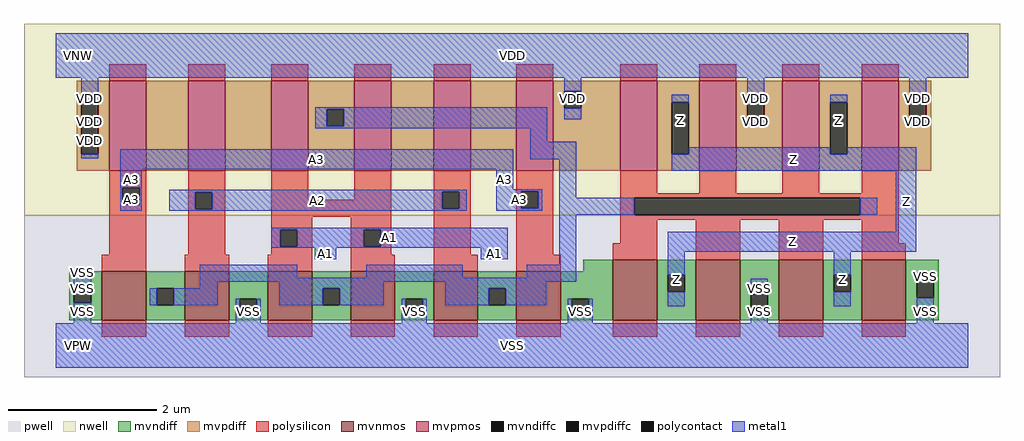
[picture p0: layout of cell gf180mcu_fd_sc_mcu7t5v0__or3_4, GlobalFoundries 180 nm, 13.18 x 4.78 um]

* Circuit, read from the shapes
.subckt gf180mcu_fd_sc_mcu7t5v0__or3_4 A1 A2 A3 Z VDD VNW VPW VSS
XM1 n1 A3 VSS VPW nfet_06v0 w=0.665u l=0.6u m=2
XM2 VSS A2 n1 VPW nfet_06v0 w=0.665u l=0.6u m=2
XM3 n1 A1 VSS VPW nfet_06v0 w=0.665u l=0.6u m=2
XM4 Z n1 VSS VPW nfet_06v0 w=0.82u l=0.6u m=4
XM5 n2 A3 VDD VNW pfet_06v0 w=1.22u l=0.5u
XM6 n3 A2 n2 VNW pfet_06v0 w=1.22u l=0.5u
XM7 n1 A1 n3 VNW pfet_06v0 w=1.22u l=0.5u
XM8 n4 A1 n1 VNW pfet_06v0 w=1.22u l=0.5u
XM9 n5 A2 n4 VNW pfet_06v0 w=1.22u l=0.5u
XM10 VDD A3 n5 VNW pfet_06v0 w=1.22u l=0.5u
XM11 Z n1 VDD VNW pfet_06v0 w=1.22u l=0.5u m=4
.ends

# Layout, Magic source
magic
tech gf180mcuD
magscale 1 10
<< nwell >>
rect -86 352 2550 870
<< pwell >>
rect -86 -86 2550 352
<< mvnmos >>
rect 124 68 244 201
rect 348 68 468 201
rect 572 68 692 201
rect 796 68 916 201
rect 1020 68 1140 201
rect 1244 68 1364 201
rect 1504 68 1624 232
rect 1728 68 1848 232
rect 1952 68 2072 232
rect 2176 68 2296 232
<< mvpmos >>
rect 144 472 244 716
rect 358 472 458 716
rect 582 472 682 716
rect 806 472 906 716
rect 1020 472 1120 716
rect 1244 472 1344 716
rect 1524 472 1624 716
rect 1738 472 1838 716
rect 1962 472 2062 716
rect 2176 472 2276 716
<< mvndiff >>
rect 1424 201 1504 232
rect 36 162 124 201
rect 36 116 49 162
rect 95 116 124 162
rect 36 68 124 116
rect 244 155 348 201
rect 244 109 273 155
rect 319 109 348 155
rect 244 68 348 109
rect 468 127 572 201
rect 468 81 497 127
rect 543 81 572 127
rect 468 68 572 81
rect 692 155 796 201
rect 692 109 721 155
rect 767 109 796 155
rect 692 68 796 109
rect 916 127 1020 201
rect 916 81 945 127
rect 991 81 1020 127
rect 916 68 1020 81
rect 1140 155 1244 201
rect 1140 109 1169 155
rect 1215 109 1244 155
rect 1140 68 1244 109
rect 1364 127 1504 201
rect 1364 81 1393 127
rect 1439 81 1504 127
rect 1364 68 1504 81
rect 1624 192 1728 232
rect 1624 146 1653 192
rect 1699 146 1728 192
rect 1624 68 1728 146
rect 1848 139 1952 232
rect 1848 93 1877 139
rect 1923 93 1952 139
rect 1848 68 1952 93
rect 2072 192 2176 232
rect 2072 146 2101 192
rect 2147 146 2176 192
rect 2072 68 2176 146
rect 2296 176 2384 232
rect 2296 130 2325 176
rect 2371 130 2384 176
rect 2296 68 2384 130
<< mvpdiff >>
rect 56 657 144 716
rect 56 517 69 657
rect 115 517 144 657
rect 56 472 144 517
rect 244 472 358 716
rect 458 472 582 716
rect 682 639 806 716
rect 682 593 731 639
rect 777 593 806 639
rect 682 472 806 593
rect 906 472 1020 716
rect 1120 472 1244 716
rect 1344 687 1524 716
rect 1344 641 1373 687
rect 1419 641 1524 687
rect 1344 472 1524 641
rect 1624 657 1738 716
rect 1624 517 1663 657
rect 1709 517 1738 657
rect 1624 472 1738 517
rect 1838 657 1962 716
rect 1838 611 1867 657
rect 1913 611 1962 657
rect 1838 472 1962 611
rect 2062 657 2176 716
rect 2062 517 2091 657
rect 2137 517 2176 657
rect 2062 472 2176 517
rect 2276 657 2364 716
rect 2276 611 2305 657
rect 2351 611 2364 657
rect 2276 472 2364 611
<< mvndiffc >>
rect 49 116 95 162
rect 273 109 319 155
rect 497 81 543 127
rect 721 109 767 155
rect 945 81 991 127
rect 1169 109 1215 155
rect 1393 81 1439 127
rect 1653 146 1699 192
rect 1877 93 1923 139
rect 2101 146 2147 192
rect 2325 130 2371 176
<< mvpdiffc >>
rect 69 517 115 657
rect 731 593 777 639
rect 1373 641 1419 687
rect 1663 517 1709 657
rect 1867 611 1913 657
rect 2091 517 2137 657
rect 2305 611 2351 657
<< polysilicon >>
rect 144 716 244 760
rect 358 716 458 760
rect 582 716 682 760
rect 806 716 906 760
rect 1020 716 1120 760
rect 1244 716 1344 760
rect 1524 716 1624 760
rect 1738 716 1838 760
rect 1962 716 2062 760
rect 2176 716 2276 760
rect 144 427 244 472
rect 144 381 180 427
rect 226 381 244 427
rect 144 245 244 381
rect 358 414 458 472
rect 358 368 377 414
rect 423 368 458 414
rect 358 245 458 368
rect 582 394 682 472
rect 806 394 906 472
rect 582 348 906 394
rect 582 313 692 348
rect 582 267 606 313
rect 652 267 692 313
rect 582 245 692 267
rect 124 201 244 245
rect 348 201 468 245
rect 572 201 692 245
rect 796 313 906 348
rect 796 267 831 313
rect 877 267 906 313
rect 796 245 906 267
rect 1020 416 1120 472
rect 1020 370 1043 416
rect 1089 370 1120 416
rect 1020 245 1120 370
rect 1244 417 1344 472
rect 1244 371 1257 417
rect 1303 371 1344 417
rect 1244 245 1344 371
rect 1524 412 1624 472
rect 1738 412 1838 472
rect 1962 412 2062 472
rect 2176 412 2276 472
rect 1524 399 2276 412
rect 1524 353 1562 399
rect 2172 353 2276 399
rect 1524 340 2276 353
rect 1524 276 1624 340
rect 796 201 916 245
rect 1020 201 1140 245
rect 1244 201 1364 245
rect 1504 232 1624 276
rect 1728 232 1848 340
rect 1952 232 2072 340
rect 2176 276 2276 340
rect 2176 232 2296 276
rect 124 24 244 68
rect 348 24 468 68
rect 572 24 692 68
rect 796 24 916 68
rect 1020 24 1140 68
rect 1244 24 1364 68
rect 1504 24 1624 68
rect 1728 24 1848 68
rect 1952 24 2072 68
rect 2176 24 2296 68
<< polycontact >>
rect 180 381 226 427
rect 377 368 423 414
rect 606 267 652 313
rect 831 267 877 313
rect 1043 370 1089 416
rect 1257 371 1303 417
rect 1562 353 2172 399
<< metal1 >>
rect 0 724 2464 844
rect 69 657 115 724
rect 1373 687 1419 724
rect 701 639 1327 644
rect 701 593 731 639
rect 777 593 1327 639
rect 1373 612 1419 641
rect 1663 657 1709 678
rect 701 587 1327 593
rect 1281 551 1327 587
rect 69 506 115 517
rect 174 476 1235 531
rect 1281 504 1406 551
rect 174 427 232 476
rect 174 381 180 427
rect 226 381 232 427
rect 1189 423 1235 476
rect 174 364 232 381
rect 306 416 1110 421
rect 306 414 1043 416
rect 306 368 377 414
rect 423 370 1043 414
rect 1089 370 1110 416
rect 423 368 1110 370
rect 306 364 1110 368
rect 1189 417 1314 423
rect 1189 371 1257 417
rect 1303 371 1314 417
rect 1189 364 1314 371
rect 1360 399 1406 504
rect 1867 657 1913 724
rect 1867 600 1913 611
rect 2091 657 2137 678
rect 1709 517 2091 536
rect 2305 657 2351 724
rect 2305 600 2351 611
rect 2137 517 2324 536
rect 1663 472 2324 517
rect 1360 353 1562 399
rect 2172 353 2219 399
rect 582 313 1221 318
rect 582 267 606 313
rect 652 267 831 313
rect 877 267 1221 313
rect 582 265 1221 267
rect 699 234 757 265
rect 1147 234 1221 265
rect 1360 219 1406 353
rect 2269 307 2324 472
rect 49 162 95 201
rect 388 184 652 219
rect 838 184 1099 219
rect 1272 184 1406 219
rect 388 173 1406 184
rect 1653 253 2324 307
rect 1653 192 1699 253
rect 388 155 437 173
rect 49 60 95 116
rect 253 109 273 155
rect 319 109 437 155
rect 603 155 886 173
rect 486 81 497 127
rect 543 81 554 127
rect 603 109 721 155
rect 767 109 886 155
rect 1052 155 1324 173
rect 486 60 554 81
rect 934 81 945 127
rect 991 81 1002 127
rect 1052 109 1169 155
rect 1215 109 1324 155
rect 2101 192 2147 253
rect 934 60 1002 81
rect 1382 81 1393 127
rect 1439 81 1450 127
rect 1653 106 1699 146
rect 1877 139 1923 180
rect 1382 60 1450 81
rect 2101 106 2147 146
rect 2325 176 2371 194
rect 1877 60 1923 93
rect 2325 60 2371 130
rect 0 -60 2464 60
<< labels >>
flabel metal1 s 174 476 1235 531 0 FreeSans 400 0 0 0 A3
port 3 nsew default input
flabel metal1 s 0 724 2464 844 0 FreeSans 400 0 0 0 VDD
port 5 nsew power bidirectional abutment
flabel metal1 s 49 194 95 201 0 FreeSans 400 0 0 0 VSS
port 8 nsew ground bidirectional abutment
flabel metal1 s 2091 536 2137 678 0 FreeSans 400 0 0 0 Z
port 4 nsew default output
flabel metal1 s 582 265 1221 318 0 FreeSans 400 0 0 0 A1
port 1 nsew default input
flabel metal1 s 306 364 1110 421 0 FreeSans 400 0 0 0 A2
port 2 nsew default input
flabel nwell s 10 734 110 834 0 FreeSans 400 0 0 0 VNW
port 6 nsew power bidirectional
flabel pwell s 10 -50 110 50 0 FreeSans 400 0 0 0 VPW
port 7 nsew ground bidirectional
rlabel metal1 s 1147 234 1221 265 1 A1
port 1 nsew default input
rlabel metal1 s 699 234 757 265 1 A1
port 1 nsew default input
rlabel metal1 s 1189 423 1235 476 1 A3
port 3 nsew default input
rlabel metal1 s 174 423 232 476 1 A3
port 3 nsew default input
rlabel metal1 s 1189 364 1314 423 1 A3
port 3 nsew default input
rlabel metal1 s 174 364 232 423 1 A3
port 3 nsew default input
rlabel metal1 s 1663 536 1709 678 1 Z
port 4 nsew default output
rlabel metal1 s 1663 472 2324 536 1 Z
port 4 nsew default output
rlabel metal1 s 2269 307 2324 472 1 Z
port 4 nsew default output
rlabel metal1 s 1653 253 2324 307 1 Z
port 4 nsew default output
rlabel metal1 s 2101 106 2147 253 1 Z
port 4 nsew default output
rlabel metal1 s 1653 106 1699 253 1 Z
port 4 nsew default output
rlabel metal1 s 2305 612 2351 724 1 VDD
port 5 nsew power bidirectional abutment
rlabel metal1 s 1867 612 1913 724 1 VDD
port 5 nsew power bidirectional abutment
rlabel metal1 s 1373 612 1419 724 1 VDD
port 5 nsew power bidirectional abutment
rlabel metal1 s 69 612 115 724 1 VDD
port 5 nsew power bidirectional abutment
rlabel metal1 s 2305 600 2351 612 1 VDD
port 5 nsew power bidirectional abutment
rlabel metal1 s 1867 600 1913 612 1 VDD
port 5 nsew power bidirectional abutment
rlabel metal1 s 69 600 115 612 1 VDD
port 5 nsew power bidirectional abutment
rlabel metal1 s 69 506 115 600 1 VDD
port 5 nsew power bidirectional abutment
rlabel metal1 s 2325 180 2371 194 1 VSS
port 8 nsew ground bidirectional abutment
rlabel metal1 s 49 180 95 194 1 VSS
port 8 nsew ground bidirectional abutment
rlabel metal1 s 2325 127 2371 180 1 VSS
port 8 nsew ground bidirectional abutment
rlabel metal1 s 1877 127 1923 180 1 VSS
port 8 nsew ground bidirectional abutment
rlabel metal1 s 49 127 95 180 1 VSS
port 8 nsew ground bidirectional abutment
rlabel metal1 s 2325 60 2371 127 1 VSS
port 8 nsew ground bidirectional abutment
rlabel metal1 s 1877 60 1923 127 1 VSS
port 8 nsew ground bidirectional abutment
rlabel metal1 s 1382 60 1450 127 1 VSS
port 8 nsew ground bidirectional abutment
rlabel metal1 s 934 60 1002 127 1 VSS
port 8 nsew ground bidirectional abutment
rlabel metal1 s 486 60 554 127 1 VSS
port 8 nsew ground bidirectional abutment
rlabel metal1 s 49 60 95 127 1 VSS
port 8 nsew ground bidirectional abutment
rlabel metal1 s 0 -60 2464 60 1 VSS
port 8 nsew ground bidirectional abutment
<< properties >>
string FIXED_BBOX 0 0 2464 784
string GDS_END 167902
string GDS_FILE $PDKPATH/libs.ref/gf180mcu_fd_sc_mcu7t5v0/gds/gf180mcu_fd_sc_mcu7t5v0.gds
string GDS_START 162270
string LEFclass core
string LEFsite GF018hv5v_mcu_sc7
string LEFsymmetry X Y
<< end >>
